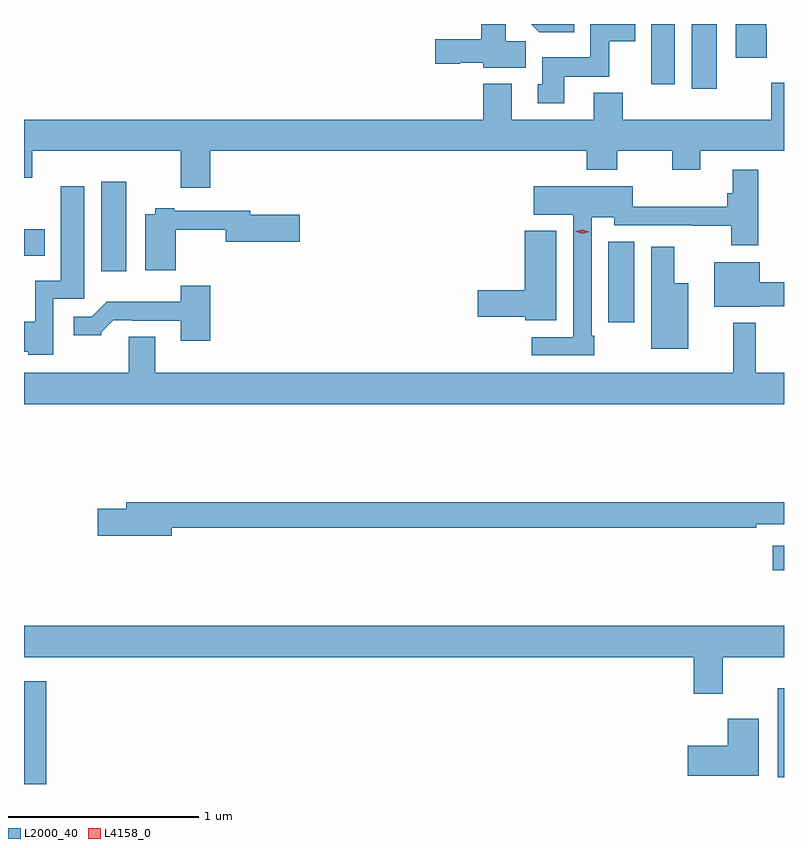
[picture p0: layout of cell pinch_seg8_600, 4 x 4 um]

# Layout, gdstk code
import gdstk
lib = gdstk.Library(unit=1e-6, precision=1e-09)
def R(c, l, rs):  # rectangles x0, y0, x1, y1
    for r in rs: c.add(gdstk.rectangle(r[:2], r[2:], *l))
def P(c, l, *ps):  # polygons
    for p in ps: c.add(gdstk.Polygon(p, *l))
L2000_40 = (2000, 40)
L4158_0 = (4158, 0)

pinch_seg8_600 = lib.new_cell('pinch_seg8_600')
R(pinch_seg8_600, L2000_40, [(211.094,1085.232,211.127,1085.701), (211.068,1086.322,211.127,1086.451), (210.203,1087.626,210.34,1088.051), (207.533,1087.896,207.664,1088.365), (207.127,1087.976,207.235,1088.116), (210.641,1088.856,210.772,1089.196), (210.428,1088.88,210.553,1089.196)])
P(pinch_seg8_600, L2000_40, [(210.023,1089.196),(209.796,1089.196),(209.84,1089.152),(210.023,1089.152)],
  [(209.971,1088.918),(210.207,1088.918),(210.207,1089.104),(210.343,1089.104),(210.343,1089.196),(210.108,1089.196),(210.108,1089.022),(209.855,1089.022),(209.855,1088.88),(209.831,1088.88),(209.831,1088.778),(209.971,1088.778)],
  [(211.036,1089.171),(211.034,1089.171),(211.034,1089.196),(210.872,1089.196),(210.872,1089.018),(211.036,1089.018)],
  [(209.767,1089.104),(209.662,1089.104),(209.662,1089.196),(209.533,1089.196),(209.533,1089.115),(209.292,1089.115),(209.292,1088.986),(209.424,1088.986),(209.424,1088.993),(209.544,1088.993),(209.544,1088.966),(209.767,1088.966)],
  [(208.106,1088.528),(210.089,1088.528),(210.089,1088.429),(210.249,1088.429),(210.249,1088.528),(210.538,1088.528),(210.538,1088.429),(210.685,1088.429),(210.685,1088.528),(211.127,1088.528),(211.127,1088.887),(211.061,1088.887),(211.061,1088.692),(210.278,1088.692),(210.278,1088.833),(210.125,1088.833),(210.125,1088.692),(209.695,1088.692),(209.695,1088.881),(209.543,1088.881),(209.543,1088.692),(207.127,1088.692),(207.127,1088.387),(207.17,1088.387),(207.17,1088.528),(207.953,1088.528),(207.953,1088.334),(208.106,1088.334)],
  [(210.127,1087.555),(210.114,1087.555),(210.114,1088.18),(210.234,1088.18),(210.234,1088.136),(210.646,1088.136),(210.646,1088.135),(210.85,1088.135),(210.85,1088.031),(210.992,1088.031),(210.992,1088.428),(210.857,1088.428),(210.857,1088.304),(210.827,1088.304),(210.827,1088.234),(210.33,1088.234),(210.33,1088.341),(209.811,1088.341),(209.811,1088.192),(210.018,1088.192),(210.018,1087.548),(209.799,1087.548),(209.799,1087.452),(210.127,1087.452)],
  [(207.282,1087.749),(207.445,1087.749),(207.445,1088.341),(207.32,1088.341),(207.32,1087.846),(207.186,1087.846),(207.186,1087.63),(207.127,1087.63),(207.127,1087.472),(207.15,1087.472),(207.15,1087.454),(207.282,1087.454)],
  [(207.926,1088.113),(208.19,1088.113),(208.19,1088.051),(208.579,1088.051),(208.579,1088.193),(208.318,1088.193),(208.318,1088.214),(207.919,1088.214),(207.919,1088.227),(207.819,1088.227),(207.819,1088.194),(207.764,1088.194),(207.764,1087.901),(207.926,1087.901)],
  [(209.929,1088.107),(209.762,1088.107),(209.762,1087.796),(209.514,1087.796),(209.514,1087.654),(209.766,1087.654),(209.766,1087.637),(209.929,1087.637)],
  [(210.622,1087.831),(210.55,1087.831),(210.55,1088.023),(210.428,1088.023),(210.428,1087.487),(210.622,1087.487)],
  [(210.996,1087.71),(211.127,1087.71),(211.127,1087.838),(211,1087.838),(211,1087.942),(210.761,1087.942),(210.761,1087.709),(210.996,1087.709)],
  [(208.106,1087.819),(207.951,1087.819),(207.951,1087.735),(207.562,1087.735),(207.483,1087.656),(207.39,1087.656),(207.39,1087.559),(207.534,1087.559),(207.534,1087.574),(207.598,1087.638),(207.697,1087.638),(207.697,1087.635),(207.953,1087.635),(207.953,1087.53),(208.106,1087.53)],
  [(211.127,1087.36),(210.977,1087.36),(210.977,1087.624),(210.859,1087.624),(210.859,1087.36),(207.817,1087.36),(207.817,1087.55),(207.677,1087.55),(207.677,1087.36),(207.127,1087.36),(207.127,1087.196),(211.127,1087.196)],
  [(207.904,1086.544),(210.98,1086.544),(210.98,1086.564),(211.127,1086.564),(211.127,1086.68),(207.665,1086.68),(207.665,1086.644),(207.516,1086.644),(207.516,1086.502),(207.904,1086.502)],
  [(210.805,1085.864),(211.127,1085.864),(211.127,1086.028),(207.127,1086.028),(207.127,1085.864),(210.653,1085.864),(210.653,1085.67),(210.805,1085.67)],
  [(207.245,1085.737),(207.127,1085.737),(207.127,1085.631),(207.129,1085.631),(207.129,1085.196),(207.245,1085.196)],
  [(210.994,1085.539),(210.83,1085.539),(210.83,1085.398),(210.621,1085.398),(210.621,1085.24),(210.994,1085.24)])
P(pinch_seg8_600, L4158_0, [(210.067,1088.093),(210.032,1088.103),(210.032,1088.103),(210.032,1088.104),(210.067,1088.113),(210.102,1088.103),(210.102,1088.103),(210.102,1088.103)])

lib.write_gds('pinch_seg8_600.gds')
